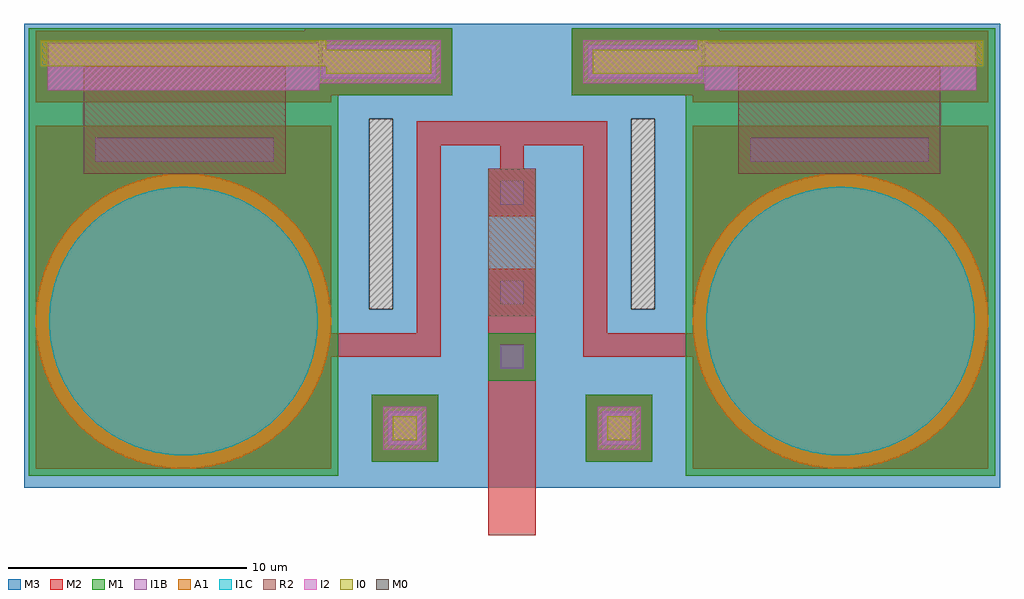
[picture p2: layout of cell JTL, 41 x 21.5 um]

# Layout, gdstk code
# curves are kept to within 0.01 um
from math import pi, radians
import gdstk
lib = gdstk.Library(unit=1e-6, precision=1e-09)
def R(c, l, rs):  # rectangles x0, y0, x1, y1
    for r in rs: c.add(gdstk.rectangle(r[:2], r[2:], *l))
def P(c, l, *ps):  # polygons
    for p in ps: c.add(gdstk.Polygon(p, *l))
M1 = (1, 0)
I1B = (3, 0)
I1C = (4, 0)
A1 = (5, 0)
M2 = (6, 0)
I2 = (8, 0)
R2 = (9, 0)
M3 = (10, 0)
M0 = (30, 0)
I0 = (31, 0)

ak_qc1p2j000 = lib.new_cell('ak_qc1p2j000')
P(ak_qc1p2j000, I1B, [(0,-5.6),(-0.585,-5.569),(-1.164,-5.478),(-1.73,-5.326),(-2.188,-5.155),(-2.629,-4.945),(-3.131,-4.643),(-3.6,-4.29),(-3.96,-3.96),(-4.29,-3.6),(-4.643,-3.131),(-4.945,-2.629),(-5.155,-2.188),(-5.326,-1.73),(-5.478,-1.164),(-5.569,-0.585),(-5.6,0),(-5.569,0.585),(-5.478,1.164),(-5.326,1.73),(-5.155,2.188),(-4.945,2.629),(-4.643,3.131),(-4.29,3.6),(-3.96,3.96),(-3.6,4.29),(-3.131,4.643),(-2.629,4.945),(-2.188,5.155),(-1.73,5.326),(-1.164,5.478),(-0.585,5.569),(0,5.6),(0.585,5.569),(1.164,5.478),(1.73,5.326),(2.188,5.155),(2.629,4.945),(3.131,4.643),(3.6,4.29),(3.96,3.96),(4.29,3.6),(4.643,3.131),(4.945,2.629),(5.155,2.188),(5.326,1.73),(5.478,1.164),(5.569,0.585),(5.6,0),(5.569,-0.585),(5.478,-1.164),(5.326,-1.73),(5.155,-2.188),(4.945,-2.629),(4.643,-3.131),(4.29,-3.6),(3.96,-3.96),(3.6,-4.29),(3.131,-4.643),(2.629,-4.945),(2.188,-5.155),(1.73,-5.326),(1.164,-5.478),(0.585,-5.569)])
P(ak_qc1p2j000, I1C, [(0,-5.642),(-0.59,-5.611),(-1.077,-5.538),(-1.65,-5.395),(-2.113,-5.231),(-2.561,-5.027),(-3.073,-4.732),(-3.551,-4.385),(-3.989,-3.989),(-4.385,-3.551),(-4.732,-3.073),(-5.027,-2.561),(-5.231,-2.113),(-5.395,-1.65),(-5.538,-1.077),(-5.611,-0.59),(-5.642,0),(-5.611,0.59),(-5.538,1.077),(-5.395,1.65),(-5.231,2.113),(-5.027,2.561),(-4.732,3.073),(-4.385,3.551),(-3.989,3.989),(-3.551,4.385),(-3.073,4.732),(-2.561,5.027),(-2.113,5.231),(-1.65,5.395),(-1.077,5.538),(-0.59,5.611),(0,5.642),(0.59,5.611),(1.077,5.538),(1.65,5.395),(2.113,5.231),(2.561,5.027),(3.073,4.732),(3.551,4.385),(3.989,3.989),(4.385,3.551),(4.732,3.073),(5.027,2.561),(5.231,2.113),(5.395,1.65),(5.538,1.077),(5.611,0.59),(5.642,0),(5.611,-0.59),(5.538,-1.077),(5.395,-1.65),(5.231,-2.113),(5.027,-2.561),(4.732,-3.073),(4.385,-3.551),(3.989,-3.989),(3.551,-4.385),(3.073,-4.732),(2.561,-5.027),(2.113,-5.231),(1.65,-5.395),(1.077,-5.538),(0.59,-5.611)])
P(ak_qc1p2j000, A1, [(0,-6.2),(-0.648,-6.166),(-1.183,-6.086),(-1.709,-5.96),(-2.323,-5.749),(-2.911,-5.474),(-3.377,-5.2),(-3.902,-4.818),(-4.384,-4.384),(-4.818,-3.902),(-5.2,-3.377),(-5.474,-2.911),(-5.749,-2.323),(-5.96,-1.709),(-6.086,-1.183),(-6.166,-0.648),(-6.2,0),(-6.166,0.648),(-6.086,1.183),(-5.96,1.709),(-5.749,2.323),(-5.474,2.911),(-5.2,3.377),(-4.818,3.902),(-4.384,4.384),(-3.902,4.818),(-3.377,5.2),(-2.911,5.474),(-2.323,5.749),(-1.709,5.96),(-1.183,6.086),(-0.648,6.166),(0,6.2),(0.648,6.166),(1.183,6.086),(1.709,5.96),(2.323,5.749),(2.911,5.474),(3.377,5.2),(3.902,4.818),(4.384,4.384),(4.818,3.902),(5.2,3.377),(5.474,2.911),(5.749,2.323),(5.96,1.709),(6.086,1.183),(6.166,0.648),(6.2,0),(6.166,-0.648),(6.086,-1.183),(5.96,-1.709),(5.749,-2.323),(5.474,-2.911),(5.2,-3.377),(4.818,-3.902),(4.384,-4.384),(3.902,-4.818),(3.377,-5.2),(2.911,-5.474),(2.323,-5.749),(1.709,-5.96),(1.183,-6.086),(0.648,-6.166)])

ak_qc10r24 = lib.new_cell('ak_qc10r24')
R(ak_qc10r24, I1B, [(-4.1,-5.5,4.2,-3.5), (-3.7,-1.5,3.8,-0.5)])
R(ak_qc10r24, M2, [(-4.6,-6,4.7,-3), (-4.6,-2,4.7,0)])
R(ak_qc10r24, R2, [(-4.2,-4.5,4.3,0)])

ak_qc1p2j000s = lib.new_cell('ak_qc1p2j000s')
R(ak_qc1p2j000s, M1, [(-6.5,-12.3,6.5,6.5)])
R(ak_qc1p2j000s, I1B, [(-5.7,-11.7,5.7,-9.7)])
R(ak_qc1p2j000s, M2, [(-6.2,-12.2,6.2,-9.2), (-6.2,-8.2,6.2,6.2)])
ak_qc1p2j000s.add(gdstk.Reference(ak_qc1p2j000, (0,0)))
ak_qc1p2j000s.add(gdstk.Reference(ak_qc10r24, (0,-6.2)))

ak_qc1p2j000sgd = lib.new_cell('ak_qc1p2j000sgd')
R(ak_qc1p2j000sgd, I2, [(-5.7,-11.7,5.7,-9.7)])
R(ak_qc1p2j000sgd, M3, [(-6.2,-12.2,6.2,-9.2)])
R(ak_qc1p2j000sgd, I0, [(-6,-11.8,6,-10.7)])
ak_qc1p2j000sgd.add(gdstk.Reference(ak_qc1p2j000s, (0,0)))

ak_qc1vm2r2 = lib.new_cell('ak_qc1vm2r2')
R(ak_qc1vm2r2, I1B, [(-0.5,-0.5,0.5,0.5)])
R(ak_qc1vm2r2, M2, [(-1,-1,1,1)])
R(ak_qc1vm2r2, R2, [(-1,-1,1,1)])

ak_qc1vm21 = lib.new_cell('ak_qc1vm21')
R(ak_qc1vm21, M1, [(-1,-1,1,1)])
R(ak_qc1vm21, I1B, [(-0.5,-0.5,0.5,0.5)])
R(ak_qc1vm21, M2, [(-1,-1,1,1)])

jtl = lib.new_cell('JTL')
R(jtl, M1, [(14.1,-6.9,16.9,-4.1), (23.1,-6.9,25.9,-4.1)])
R(jtl, I1B, [(14.8,-6.2,16.2,-4.8), (23.8,-6.2,25.2,-4.8)])
R(jtl, M2, [(14.1,-6.9,16.9,-4.1), (23.1,-6.9,25.9,-4.1)])
R(jtl, I2, [(14.6,-6.4,16.4,-4.6), (23.6,-6.4,25.4,-4.6)])
R(jtl, M3, [(14.1,-6.9,16.9,-4.1), (23.1,-6.9,25.9,-4.1)])
P(jtl, M3, [(-0.5,-8),(-0.5,11.5),(14.5,11.5),(14.5,7.5),(14,7.5),(14,-0.5),(14.5,-0.5),(14.5,-8)],
  [(14.5,-8),(14.5,-0.5),(15,-0.5),(15,7.5),(14.5,7.5),(14.5,11.5),(25.5,11.5),(25.5,7.5),(25,7.5),(25,-0.5),(25.5,-0.5),(25.5,-8)],
  [(25.5,-8),(25.5,-0.5),(26,-0.5),(26,7.5),(25.5,7.5),(25.5,11.5),(40.5,11.5),(40.5,-8)])
R(jtl, I0, [(15,-6,16,-5), (24,-6,25,-5)])
jtl.add(gdstk.FlexPath([(12,9.9),(16.8,9.9)], 1.4, ends="flush", simple_path=True, layer=3, datatype=0))  # I1B
jtl.add(gdstk.FlexPath([(28,9.9),(23.2,9.9)], 1.4, ends="flush", simple_path=True, layer=3, datatype=0))  # I1B
jtl.add(gdstk.FlexPath([(20,1.2),(20,3.4)], 2, ends="flush", simple_path=True, layer=9, datatype=0))  # R2
jtl.add(gdstk.FlexPath([(11.3,9.9),(17.5,9.9)], 2.8, ends="flush", simple_path=True, layer=6, datatype=0))  # M2
jtl.add(gdstk.FlexPath([(28.7,9.9),(22.5,9.9)], 2.8, ends="flush", simple_path=True, layer=6, datatype=0))  # M2
jtl.add(gdstk.FlexPath([(12.4,-2),(16.5,-2),(16.5,6.9),(23.5,6.9),(23.5,-2),(27.6,-2)], 1, ends="flush", simple_path=True, layer=6, datatype=0))  # M2
jtl.add(gdstk.FlexPath([(20,5.2),(20,7.3)], 1, ends="flush", simple_path=True, layer=6, datatype=0))  # M2
jtl.add(gdstk.FlexPath([(20,-0.8),(20,-10)], 2, ends="flush", simple_path=True, layer=6, datatype=0))  # M2
jtl.add(gdstk.FlexPath([(11.3,9.9),(17.5,9.9)], 2.8, ends="flush", simple_path=True, layer=1, datatype=0))  # M1
jtl.add(gdstk.FlexPath([(28.7,9.9),(22.5,9.9)], 2.8, ends="flush", simple_path=True, layer=1, datatype=0))  # M1
jtl.add(gdstk.FlexPath([(11.3,9.9),(17.5,9.9)], 2.8, ends="flush", simple_path=True, layer=10, datatype=0))  # M3
jtl.add(gdstk.FlexPath([(28.7,9.9),(22.5,9.9)], 2.8, ends="flush", simple_path=True, layer=10, datatype=0))  # M3
jtl.add(gdstk.FlexPath([(12.2,9.9),(16.6,9.9)], 1, ends="flush", simple_path=True, layer=31, datatype=0))  # I0
jtl.add(gdstk.FlexPath([(27.8,9.9),(23.4,9.9)], 1, ends="flush", simple_path=True, layer=31, datatype=0))  # I0
jtl.add(gdstk.FlexPath([(11.8,9.9),(17,9.9)], 1.8, ends="flush", simple_path=True, layer=8, datatype=0))  # I2
jtl.add(gdstk.FlexPath([(28.2,9.9),(23,9.9)], 1.8, ends="flush", simple_path=True, layer=8, datatype=0))  # I2
jtl.add(gdstk.FlexPath([(14.5,-0.5),(14.5,7.5)], 1, ends="flush", simple_path=True, layer=30, datatype=0))  # M0
jtl.add(gdstk.FlexPath([(25.5,-0.5),(25.5,7.5)], 1, ends="flush", simple_path=True, layer=30, datatype=0))  # M0
jtl.add(gdstk.Reference(ak_qc1p2j000sgd, (6.2,-1), x_reflection=True))
jtl.add(gdstk.Reference(ak_qc1p2j000sgd, (33.8,-1), rotation=pi))
jtl.add(gdstk.Reference(ak_qc1vm2r2, (20,4.4), x_reflection=True))
jtl.add(gdstk.Reference(ak_qc1vm2r2, (20,0.2), x_reflection=True))
jtl.add(gdstk.Reference(ak_qc1vm21, (20,-2.5), x_reflection=True))

lib.write_gds('JTL.gds')
